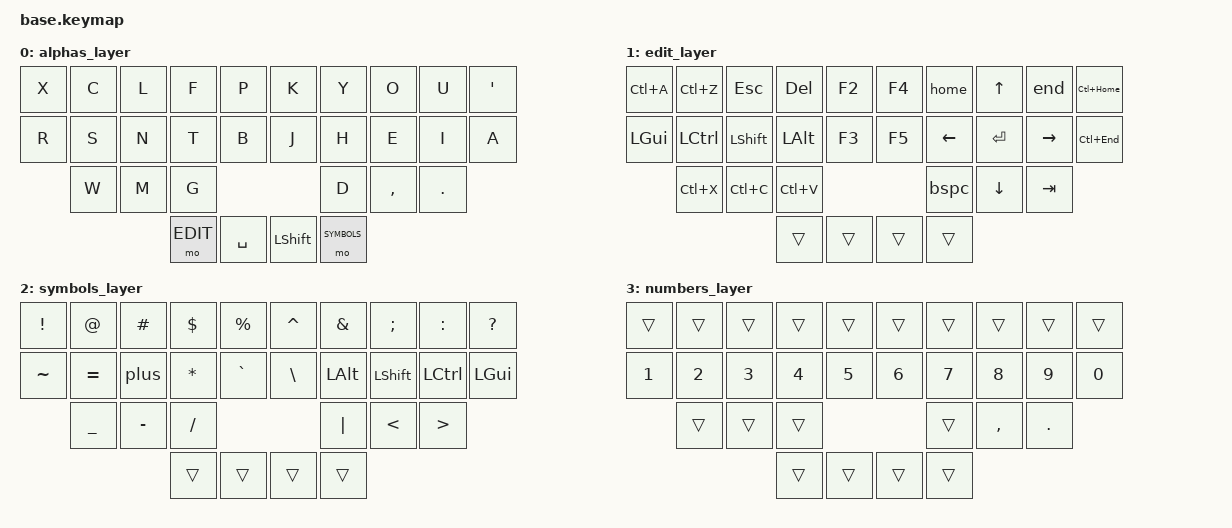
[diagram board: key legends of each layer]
#include <behaviors.dtsi>
#include <dt-bindings/zmk/keys.h>

/* Layers */
#define ALPHAS 0
#define EDIT 1
#define SYMBOLS 2
#define NUMBERS 3

/* Mod Sequence (Outer to Inner) */
#define M0 LGUI
#define M1 LCTRL
#define M2 LSHFT
#define M3 LALT

/* Shortcuts */
#define CUT LC(X)
#define COPY LC(C)
#define PASTE LC(V)
#define UNDO LC(Z)
#define ALL LC(A)
#define TOP LC(HOME)
#define BOTTOM LC(END)

/ {
    behaviors {
        home: home_ignoring_ctrl {
            compatible = "zmk,behavior-mod-morph";
            #binding-cells = <0>;
            bindings = <&kp HOME>, <&kp HOME>;
            mods = <(MOD_LCTL|MOD_RCTL)>;
        };
        end: end_ignoring_ctrl {
            compatible = "zmk,behavior-mod-morph";
            #binding-cells = <0>;
            bindings = <&kp END>, <&kp END>;
            mods = <(MOD_LCTL|MOD_RCTL)>;
        };
        bspc: backspace_delete {
            compatible = "zmk,behavior-mod-morph";
            #binding-cells = <0>;
            bindings = <&kp BSPC>, <&kp DEL>;
            mods = <(MOD_LSFT|MOD_RSFT)>;
        };
        plus: plus_zoom {
            compatible = "zmk,behavior-mod-morph";
            #binding-cells = <0>;
            bindings = <&kp PLUS>, <&kp LC(EQUAL)>;
            mods = <(MOD_LCTL|MOD_RCTL)>;
        };
    };

    conditional_layers {
        compatible = "zmk,conditional-layers";
        tri_layer {
            if-layers = <EDIT SYMBOLS>;
            then-layer = <NUMBERS>;
        };
    };

    combos {
        compatible = "zmk,combos";

        /*                 Key Positions
             0   1   2   3   4      5   6   7   8   9
            10  11  12  13  14     15  16  17  18  19
                20  21  22             23  24  25
                        26  27     28  29              */

        v { key-positions = <1 2>; bindings = <&kp V>; layers = <ALPHAS>; };
        z { key-positions = <20 21>; bindings = <&kp Z>; layers = <ALPHAS>; };
        q { key-positions = <21 22>; bindings = <&kp Q>; layers = <ALPHAS>; };

        lbrc { key-positions = <1 11>; bindings = <&kp LBRC>; layers = <ALPHAS SYMBOLS NUMBERS>; };
        rbrc { key-positions = <8 18>; bindings = <&kp RBRC>; layers = <ALPHAS SYMBOLS NUMBERS>; };
        lpar { key-positions = <2 12>; bindings = <&kp LPAR>; layers = <ALPHAS SYMBOLS NUMBERS>; };
        rpar { key-positions = <7 17>; bindings = <&kp RPAR>; layers = <ALPHAS SYMBOLS NUMBERS>; };
        lbkt { key-positions = <3 13>; bindings = <&kp LBKT>; layers = <ALPHAS SYMBOLS NUMBERS>; };
        rbkt { key-positions = <6 16>; bindings = <&kp RBKT>; layers = <ALPHAS SYMBOLS NUMBERS>; };
    };

    keymap {
        compatible = "zmk,keymap";
        alphas_layer {
            bindings = <
                &kp X     &kp C     &kp L     &kp F     &kp P       &kp K     &kp Y     &kp O     &kp U     &kp APOS
                &kp R     &kp S     &kp N     &kp T     &kp B       &kp J     &kp H     &kp E     &kp I     &kp A
                          &kp W     &kp M     &kp G                           &kp D     &kp COMMA &kp DOT
                                              &mo EDIT  &kp SPACE   &kp LSHFT &mo SYMBOLS
            >;
        };
        edit_layer {
            bindings = <
                &kp ALL   &kp UNDO  &kp ESC   &kp DEL   &kp F2      &kp F4    &home     &kp UP    &end      &kp TOP
                &kp M0    &kp M1    &kp M2    &kp M3    &kp F3      &kp F5    &kp LEFT  &kp ENTER &kp RIGHT &kp BOTTOM
                          &kp CUT   &kp COPY  &kp PASTE                       &bspc     &kp DOWN  &kp TAB
                                              &trans    &trans      &trans    &trans
            >;
        };
        symbols_layer {
            bindings = <
                &kp EXCL  &kp AT    &kp HASH  &kp DLLR  &kp PRCNT   &kp CARET &kp AMPS  &kp SEMI  &kp COLON &kp QMARK
                &kp TILDE &kp EQUAL &plus     &kp STAR  &kp GRAVE   &kp BSLH  &kp M3    &kp M2    &kp M1    &kp M0
                          &kp UNDER &kp MINUS &kp FSLH                        &kp PIPE  &kp LT    &kp GT
                                              &trans    &trans      &trans    &trans
            >;
        };
        numbers_layer {
            bindings = <
                &trans    &trans    &trans    &trans    &trans      &trans    &trans    &trans    &trans    &trans
                &kp N1    &kp N2    &kp N3    &kp N4    &kp N5      &kp N6    &kp N7    &kp N8    &kp N9    &kp N0
                          &trans    &trans    &trans                          &trans    &kp COMMA &kp DOT
                                              &trans    &trans      &trans    &trans
            >;
        };
    };
};
